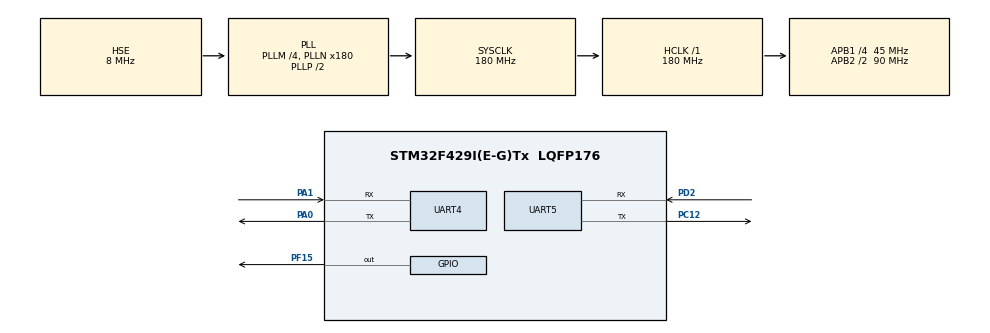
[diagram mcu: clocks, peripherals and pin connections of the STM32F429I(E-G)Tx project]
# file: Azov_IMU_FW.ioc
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FREERTOS.INCLUDE_vTaskDelayUntil=1
FREERTOS.INCLUDE_xEventGroupSetBitFromISR=1
FREERTOS.INCLUDE_xTimerPendFunctionCall=1
FREERTOS.Tasks01=mainTask,0,128,StartMainTask,Default,NULL,Dynamic,NULL,NULL;TxPCTask,0,512,StartTxPCTask,Default,NULL,Dynamic,NULL,NULL;RxPCTask,0,512,StartRxPCTask,Default,NULL,Dynamic,NULL,NULL;StormTxTask,0,512,StartStormTxTask,Default,NULL,Dynamic,NULL,NULL;StormRxTask,0,512,StartStormRxTask,Default,NULL,Dynamic,NULL,NULL
FREERTOS.configCHECK_FOR_STACK_OVERFLOW=2
FREERTOS.configTOTAL_HEAP_SIZE=32768
FREERTOS.configUSE_IDLE_HOOK=1
FREERTOS.configUSE_MALLOC_FAILED_HOOK=1
FREERTOS.configUSE_TIMERS=1
Mcu.Family=STM32F4
Mcu.Name=STM32F429I(E-G)Tx
Mcu.Package=LQFP176
NVIC.PriorityGroup=NVIC_PRIORITYGROUP_4
NVIC.TIM1_UP_TIM10_IRQn=true\:5\:0\:false\:false\:true\:true\:true
NVIC.TIM8_TRG_COM_TIM14_IRQn=true\:0\:0\:false\:false\:true\:false\:false
NVIC.TimeBase=TIM8_TRG_COM_TIM14_IRQn
NVIC.TimeBaseIP=TIM14
NVIC.UART4_IRQn=true\:5\:0\:false\:false\:true\:true\:true
NVIC.UART5_IRQn=true\:5\:0\:false\:false\:true\:true\:true
PA0/WKUP.Mode=Asynchronous
PA0/WKUP.Signal=UART4_TX
PA1.Mode=Asynchronous
PA1.Signal=UART4_RX
PC12.Mode=Asynchronous
PC12.Signal=UART5_TX
PD2.Mode=Asynchronous
PD2.Signal=UART5_RX
PF15.Signal=GPIO_Output
PH0/OSC_IN.Mode=HSE-External-Oscillator
PH0/OSC_IN.Signal=RCC_OSC_IN
PH1/OSC_OUT.Mode=HSE-External-Oscillator
PH1/OSC_OUT.Signal=RCC_OSC_OUT
ProjectManager.HeapSize=0x200
ProjectManager.StackSize=0x400
ProjectManager.TargetToolchain=EWARM V7
RCC.48MHZClocksFreq_Value=90000000
RCC.AHBFreq_Value=180000000
RCC.APB1CLKDivider=RCC_HCLK_DIV4
RCC.APB1Freq_Value=45000000
RCC.APB1TimFreq_Value=90000000
RCC.APB2CLKDivider=RCC_HCLK_DIV2
RCC.APB2Freq_Value=90000000
RCC.APB2TimFreq_Value=180000000
RCC.CortexFreq_Value=180000000
RCC.HCLKFreq_Value=180000000
RCC.HSE_VALUE=8000000
RCC.HSI_VALUE=16000000
RCC.LSE_VALUE=32768
RCC.PLLM=4
RCC.PLLN=180
RCC.PLLSourceVirtual=RCC_PLLSOURCE_HSE
RCC.SYSCLKFreq_VALUE=180000000
RCC.SYSCLKSource=RCC_SYSCLKSOURCE_PLLCLK
RCC.VCOOutputFreq_Value=360000000
UART4.VirtualMode=Asynchronous
UART5.VirtualMode=Asynchronous
VP_FREERTOS_VS_ENABLE.Mode=Enabled
VP_SYS_VS_tim14.Mode=TIM14
VP_TIM10_VS_ClockSourceINT.Mode=Enable_Timer
board=custom

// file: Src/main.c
/* USER CODE BEGIN Header */
/**
  ******************************************************************************
  * @file           : main.c
  * @brief          : Main program body
  ******************************************************************************
  * This notice applies to any and all portions of this file
  * that are not between comment pairs USER CODE BEGIN and
  * USER CODE END. Other portions of this file, whether
  * inserted by the user or by software development tools
  * are owned by their respective copyright owners.
  *
  * Copyright (c) 2019 STMicroelectronics International N.V.
  * All rights reserved.
  *
  * Redistribution and use in source and binary forms, with or without
  * modification, are permitted, provided that the following conditions are met:
  *
  * 1. Redistribution of source code must retain the above copyright notice,
  *    this list of conditions and the following disclaimer.
  * 2. Redistributions in binary form must reproduce the above copyright notice,
  *    this list of conditions and the following disclaimer in the documentation
  *    and/or other materials provided with the distribution.
  * 3. Neither the name of STMicroelectronics nor the names of other
  *    contributors to this software may be used to endorse or promote products
  *    derived from this software without specific written permission.
  * 4. This software, including modifications and/or derivative works of this
  *    software, must execute solely and exclusively on microcontroller or
  *    microprocessor devices manufactured by or for STMicroelectronics.
  * 5. Redistribution and use of this software other than as permitted under
  *    this license is void and will automatically terminate your rights under
  *    this license.
  *
  * THIS SOFTWARE IS PROVIDED BY STMICROELECTRONICS AND CONTRIBUTORS "AS IS"
  * AND ANY EXPRESS, IMPLIED OR STATUTORY WARRANTIES, INCLUDING, BUT NOT
  * LIMITED TO, THE IMPLIED WARRANTIES OF MERCHANTABILITY, FITNESS FOR A
  * PARTICULAR PURPOSE AND NON-INFRINGEMENT OF THIRD PARTY INTELLECTUAL PROPERTY
  * RIGHTS ARE DISCLAIMED TO THE FULLEST EXTENT PERMITTED BY LAW. IN NO EVENT
  * SHALL STMICROELECTRONICS OR CONTRIBUTORS BE LIABLE FOR ANY DIRECT, INDIRECT,
  * INCIDENTAL, SPECIAL, EXEMPLARY, OR CONSEQUENTIAL DAMAGES (INCLUDING, BUT NOT
  * LIMITED TO, PROCUREMENT OF SUBSTITUTE GOODS OR SERVICES; LOSS OF USE, DATA,
  * OR PROFITS; OR BUSINESS INTERRUPTION) HOWEVER CAUSED AND ON ANY THEORY OF
  * LIABILITY, WHETHER IN CONTRACT, STRICT LIABILITY, OR TORT (INCLUDING
  * NEGLIGENCE OR OTHERWISE) ARISING IN ANY WAY OUT OF THE USE OF THIS SOFTWARE,
  * EVEN IF ADVISED OF THE POSSIBILITY OF SUCH DAMAGE.
  *
  ******************************************************************************
  */
/* USER CODE END Header */

#include "main.h"
#include "cmsis_os.h"
#include "checksum.h"

/* USER CODE BEGIN Includes */
#define HMI_BUF_SIZE    256

#define PC_DATA_RX_FLAG         0x0001
#define PC_DATA_TX_FLAG         0x0002

#define STORM_DATA_RX_FLAG         0x0001
#define STORM_DATA_TX_FLAG         0x0002
/* USER CODE END Includes */

/* USER CODE BEGIN PTD */
typedef struct {
  uint16_t commLength;
  uint16_t commIndex;
  uint16_t IndexIn;
  uint16_t IndexOut;
  uint8_t  buf[HMI_BUF_SIZE];
  uint8_t flag;
}pcMsg_TypeDef_t;

typedef struct {
  uint8_t len;
  uint8_t buf[50];
}pc_data_t;
/* USER CODE END PTD */

TIM_HandleTypeDef htim10;

UART_HandleTypeDef huart4;
UART_HandleTypeDef huart5;

osThreadId mainTaskHandle;
osThreadId TxPCTaskHandle;
osThreadId RxPCTaskHandle;
osThreadId StormTxTaskHandle;
osThreadId StormRxTaskHandle;
/* USER CODE BEGIN PV */
static pcMsg_TypeDef_t pcMSG;
static pcMsg_TypeDef_t stormMSG;
EventGroupHandle_t xCreatedEventPC;
EventGroupHandle_t xCreatedEventStorm;

osMessageQId xQueuePC;
osMessageQId xQueueStorm;

uint8_t CMD_SETANGLE_UART[19] = {0xFA, 0x0E, 0x11,
                            0x00, 0x00, 0x00, 0x00,
                            0x00, 0x00, 0x00, 0x00,
                            0x00, 0x00, 0x00, 0x00,
                            0x00,                       //The flags byte allows to modify the behavior of the angle setting for each axis
                            0x00,                       //The type byte is not used currently and has to be set to zero
                            0x00, 0x00};                //crc_low_byte, crc_high_byte
/* USER CODE END PV */

void SystemClock_Config(void);
static void MX_GPIO_Init(void);
static void MX_UART4_Init(void);
static void MX_UART5_Init(void);
static void MX_TIM10_Init(void);
void StartMainTask(void const * argument);
void StartTxPCTask(void const * argument);
void StartRxPCTask(void const * argument);
void StartStormTxTask(void const * argument);
void StartStormRxTask(void const * argument);

/* USER CODE BEGIN 0 */
void ReceivePCData(void);
void TransmitPCEnd(void);
void Install_required_angle(float roll, float pitch, float yaw);
void TransmitStormEnd(void);
void ReceiveStormData(void);
/* USER CODE END 0 */

int main(void)
{

  /* MCU Configuration--------------------------------------------------------*/

  /* Reset of all peripherals, Initializes the Flash interface and the Systick. */
  HAL_Init();

  /* Configure the system clock */
  SystemClock_Config();

  /* Initialize all configured peripherals */
  MX_GPIO_Init();
  MX_UART4_Init();
  MX_UART5_Init();
  MX_TIM10_Init();

  /* USER CODE BEGIN RTOS_TIMERS */
  /* start timers, add new ones, ... */
  xCreatedEventPC = xEventGroupCreate();
  xCreatedEventStorm = xEventGroupCreate();
  /* USER CODE END RTOS_TIMERS */

  /* Create the thread(s) */
  /* definition and creation of mainTask */
  osThreadDef(mainTask, StartMainTask, osPriorityNormal, 0, 128);
  mainTaskHandle = osThreadCreate(osThread(mainTask), NULL);

  /* definition and creation of TxPCTask */
  osThreadDef(TxPCTask, StartTxPCTask, osPriorityNormal, 0, 2048);
  TxPCTaskHandle = osThreadCreate(osThread(TxPCTask), NULL);

  /* definition and creation of RxPCTask */
  osThreadDef(RxPCTask, StartRxPCTask, osPriorityNormal, 0, 2048);
  RxPCTaskHandle = osThreadCreate(osThread(RxPCTask), NULL);

  /* definition and creation of StormTxTask */
  osThreadDef(StormTxTask, StartStormTxTask, osPriorityNormal, 0, 2048);
  StormTxTaskHandle = osThreadCreate(osThread(StormTxTask), NULL);

  /* definition and creation of StormRxTask */
  osThreadDef(StormRxTask, StartStormRxTask, osPriorityNormal, 0, 2048);
  StormRxTaskHandle = osThreadCreate(osThread(StormRxTask), NULL);

  /* USER CODE BEGIN RTOS_QUEUES */
  /* add queues, ... */
  osMessageQDef(queuePC, 30, pc_data_t); // Declare a message queue
  xQueuePC = osMessageCreate(osMessageQ(queuePC), NULL);
  osMessageQDef(queueStorm, 30, pc_data_t); // Declare a message queue
  xQueueStorm = osMessageCreate(osMessageQ(queueStorm), NULL);
  /* USER CODE END RTOS_QUEUES */

  /* Start scheduler */
  osKernelStart();

  /* We should never get here as control is now taken by the scheduler */

  /* Infinite loop */
  while (1)
  {

  }
}

void SystemClock_Config(void)
{
  RCC_OscInitTypeDef RCC_OscInitStruct = {0};
  RCC_ClkInitTypeDef RCC_ClkInitStruct = {0};

  /**Configure the main internal regulator output voltage
  */
  __HAL_RCC_PWR_CLK_ENABLE();
  __HAL_PWR_VOLTAGESCALING_CONFIG(PWR_REGULATOR_VOLTAGE_SCALE1);
  /**Initializes the CPU, AHB and APB busses clocks
  */
  RCC_OscInitStruct.OscillatorType = RCC_OSCILLATORTYPE_HSE;
  RCC_OscInitStruct.HSEState = RCC_HSE_ON;
  RCC_OscInitStruct.PLL.PLLState = RCC_PLL_ON;
  RCC_OscInitStruct.PLL.PLLSource = RCC_PLLSOURCE_HSE;
  RCC_OscInitStruct.PLL.PLLM = 4;
  RCC_OscInitStruct.PLL.PLLN = 180;
  RCC_OscInitStruct.PLL.PLLP = RCC_PLLP_DIV2;
  RCC_OscInitStruct.PLL.PLLQ = 4;
  if (HAL_RCC_OscConfig(&RCC_OscInitStruct) != HAL_OK)
  {
    Error_Handler();
  }
  /**Activate the Over-Drive mode
  */
  if (HAL_PWREx_EnableOverDrive() != HAL_OK)
  {
    Error_Handler();
  }
  /**Initializes the CPU, AHB and APB busses clocks
  */
  RCC_ClkInitStruct.ClockType = RCC_CLOCKTYPE_HCLK|RCC_CLOCKTYPE_SYSCLK
                              |RCC_CLOCKTYPE_PCLK1|RCC_CLOCKTYPE_PCLK2;
  RCC_ClkInitStruct.SYSCLKSource = RCC_SYSCLKSOURCE_PLLCLK;
  RCC_ClkInitStruct.AHBCLKDivider = RCC_SYSCLK_DIV1;
  RCC_ClkInitStruct.APB1CLKDivider = RCC_HCLK_DIV4;
  RCC_ClkInitStruct.APB2CLKDivider = RCC_HCLK_DIV2;

  if (HAL_RCC_ClockConfig(&RCC_ClkInitStruct, FLASH_LATENCY_5) != HAL_OK)
  {
    Error_Handler();
  }
}

static void MX_TIM10_Init(void)
{

  htim10.Instance = TIM10;
  htim10.Init.Prescaler = 0;
  htim10.Init.CounterMode = TIM_COUNTERMODE_UP;
  htim10.Init.Period = 0;
  htim10.Init.ClockDivision = TIM_CLOCKDIVISION_DIV1;
  if (HAL_TIM_Base_Init(&htim10) != HAL_OK)
  {
    Error_Handler();
  }

}

static void MX_UART4_Init(void)
{

  huart4.Instance = UART4;
  huart4.Init.BaudRate = 115200;
  huart4.Init.WordLength = UART_WORDLENGTH_8B;
  huart4.Init.StopBits = UART_STOPBITS_1;
  huart4.Init.Parity = UART_PARITY_NONE;
  huart4.Init.Mode = UART_MODE_TX_RX;
  huart4.Init.HwFlowCtl = UART_HWCONTROL_NONE;
  huart4.Init.OverSampling = UART_OVERSAMPLING_16;
  if (HAL_UART_Init(&huart4) != HAL_OK)
  {
    Error_Handler();
  }

}

static void MX_UART5_Init(void)
{

  huart5.Instance = UART5;
  huart5.Init.BaudRate = 115200;
  huart5.Init.WordLength = UART_WORDLENGTH_8B;
  huart5.Init.StopBits = UART_STOPBITS_1;
  huart5.Init.Parity = UART_PARITY_NONE;
  huart5.Init.Mode = UART_MODE_TX_RX;
  huart5.Init.HwFlowCtl = UART_HWCONTROL_NONE;
  huart5.Init.OverSampling = UART_OVERSAMPLING_16;
  if (HAL_UART_Init(&huart5) != HAL_OK)
  {
    Error_Handler();
  }

}

static void MX_GPIO_Init(void)
{
  GPIO_InitTypeDef GPIO_InitStruct = {0};

  /* GPIO Ports Clock Enable */
  __HAL_RCC_GPIOH_CLK_ENABLE();
  __HAL_RCC_GPIOA_CLK_ENABLE();
  __HAL_RCC_GPIOF_CLK_ENABLE();
  __HAL_RCC_GPIOC_CLK_ENABLE();
  __HAL_RCC_GPIOD_CLK_ENABLE();

  /*Configure GPIO pin Output Level */
  HAL_GPIO_WritePin(GPIOF, GPIO_PIN_15, GPIO_PIN_RESET);

  /*Configure GPIO pin : PF15 */
  GPIO_InitStruct.Pin = GPIO_PIN_15;
  GPIO_InitStruct.Mode = GPIO_MODE_OUTPUT_PP;
  GPIO_InitStruct.Pull = GPIO_NOPULL;
  GPIO_InitStruct.Speed = GPIO_SPEED_FREQ_LOW;
  HAL_GPIO_Init(GPIOF, &GPIO_InitStruct);

}

/* USER CODE BEGIN 4 */
void ReceivePCData(void)
{
  BaseType_t xHigherPriorityTaskWoken;

  if(pcMSG.buf[pcMSG.IndexOut] == '<')
  {
    pcMSG.flag |= 0x01;
    pcMSG.IndexIn = pcMSG.IndexOut;
  }
  else if((pcMSG.flag & 0x01) && pcMSG.buf[pcMSG.IndexOut] == '>')
  {
    pcMSG.flag = 0x00;
    pcMSG.commIndex = pcMSG.IndexIn;
    if(pcMSG.IndexIn <= pcMSG.IndexOut)
    {
      pcMSG.commLength = pcMSG.IndexOut - pcMSG.IndexIn;
    }
    else
    {
      pcMSG.commLength = (HMI_BUF_SIZE - pcMSG.IndexIn) + pcMSG.IndexOut;
    }
    xEventGroupSetBitsFromISR(xCreatedEventPC, PC_DATA_RX_FLAG, &xHigherPriorityTaskWoken);
  }

  if((++pcMSG.IndexOut) >= HMI_BUF_SIZE)
  {
    pcMSG.IndexOut = 0;
  }
  HAL_UART_Receive_IT(&huart5, &pcMSG.buf[pcMSG.IndexOut], 1);
}

/*Storm*/
void ReceiveStormData(void)
{
  BaseType_t xHigherPriorityTaskWoken;

  if(stormMSG.buf[stormMSG.IndexOut] == 0x06)
  {
    stormMSG.flag |= 0x01;
    stormMSG.IndexIn = stormMSG.IndexOut;
  }
  else if((stormMSG.flag & 0x01) && stormMSG.buf[stormMSG.IndexOut] == 'o')
  {
    stormMSG.flag = 0x00;
    stormMSG.commIndex = stormMSG.IndexIn;
    if(stormMSG.IndexIn <= stormMSG.IndexOut)
    {
      stormMSG.commLength = stormMSG.IndexOut - stormMSG.IndexIn;
    }
    else
    {
      stormMSG.commLength = (HMI_BUF_SIZE - stormMSG.IndexIn) + stormMSG.IndexOut;
    }
    xEventGroupSetBitsFromISR(xCreatedEventStorm, STORM_DATA_RX_FLAG, &xHigherPriorityTaskWoken);
    stormMSG.IndexOut = 0;
    stormMSG.IndexIn = 0;
    stormMSG.flag = 0;
    HAL_UART_Receive_IT(&huart4, &stormMSG.buf[0], 1);
  }

  if(stormMSG.flag & 0x01)
  {
    if((++stormMSG.IndexOut) >= HMI_BUF_SIZE)
    {
      stormMSG.IndexOut = 0;
      stormMSG.IndexIn = 0;
      stormMSG.flag = 0;
    }
    HAL_UART_Receive_IT(&huart4, &stormMSG.buf[stormMSG.IndexOut], 1);
  }
  else
  {
    HAL_UART_Receive_IT(&huart4, &stormMSG.buf[0], 1);
  }
}

void HAL_UART_RxCpltCallback(UART_HandleTypeDef *huart)
{
  if(huart->Instance == UART5)
  {
    ReceivePCData();
  }
  else if(huart->Instance == UART4)
  {
    ReceiveStormData();
  }
}

void HAL_UART_TxCpltCallback(UART_HandleTypeDef *huart)
{
  if(huart->Instance == UART5)
  {
    TransmitPCEnd();
  }
  else if(huart->Instance == UART4)
  {
    TransmitStormEnd();
  }
}
/* USER CODE END 4 */

void StartMainTask(void const * argument)
{

  pc_data_t message;
  /* USER CODE BEGIN 5 */
  /* Infinite loop */
  for(;;)
  {
    message.len = 1;
    message.buf[0] = 'd';
    xQueueSend(xQueueStorm, &message, portMAX_DELAY);
    osDelay(10);
  }
  /* USER CODE END 5 */
}

void StartTxPCTask(void const * argument)
{
  /* USER CODE BEGIN StartTxPCTask */
  pc_data_t message;
  /* Infinite loop */
  for(;;)
  {
    xQueueReceive(xQueuePC,  &message, portMAX_DELAY);
    HAL_UART_Transmit_IT(&huart5, message.buf, message.len);
    xEventGroupWaitBits(xCreatedEventPC, PC_DATA_TX_FLAG, pdTRUE, pdFALSE, portMAX_DELAY);
  }
  /* USER CODE END StartTxPCTask */
}

void StartRxPCTask(void const * argument)
{
  uint8_t i;
  EventBits_t event;
  uint8_t local_buf[40];
  float roll, pitch, yaw;

  HAL_UART_Receive_IT(&huart5, &pcMSG.buf[0], 1);
  /* USER CODE BEGIN StartRxPCTask */
  /* Infinite loop */
  for(;;)
  {
    event = xEventGroupWaitBits(xCreatedEventPC, PC_DATA_RX_FLAG, pdTRUE, pdFALSE, portMAX_DELAY);
    if(event & PC_DATA_RX_FLAG)
    {
      for(i = 0; i < pcMSG.commLength; i++)
      {
        local_buf[i] = pcMSG.buf[pcMSG.IndexIn];
        if((++pcMSG.IndexIn) >= HMI_BUF_SIZE)
        {
          pcMSG.IndexIn = 0;
        }
      }
      local_buf[i] = '\0';

      if(strstr((char*)local_buf, "<SetAngle:") != NULL)
      {
        sscanf((char*)&local_buf, "<SetAngle:%f:%f:%f>", &roll, &pitch, &yaw);
        Install_required_angle(roll, pitch, yaw);
      }

    }
  }
  /* USER CODE END StartRxPCTask */
}

void TransmitPCEnd(void)
{
  BaseType_t xHigherPriorityTaskWoken;
  xEventGroupSetBitsFromISR(xCreatedEventPC, PC_DATA_TX_FLAG, &xHigherPriorityTaskWoken);
}

void TransmitStormEnd(void)
{
  BaseType_t xHigherPriorityTaskWoken;
  xEventGroupSetBitsFromISR(xCreatedEventStorm, STORM_DATA_TX_FLAG, &xHigherPriorityTaskWoken);
}

union {
  float Angle_from_Simulink;
  uint8_t Angle_from_PC[4];
} Roll_from_PC, Pitch_from_PC;

void Install_required_angle(float roll, float pitch, float yaw)
{
  pc_data_t message;
  uint16_t CRC_Full_Result;

  Roll_from_PC.Angle_from_Simulink = roll;
  Pitch_from_PC.Angle_from_Simulink = pitch;
  //---------------------Переписываем значения углов установки платформы в массивы для расчета CRC и для отправки по UART
  //-------------- Значение крена-------------------------------------------
  uint8_t local_index = 3;
  for (uint8_t k=0; k<4; k++){
    CMD_SETANGLE_UART[local_index] = Roll_from_PC.Angle_from_PC[k];
    local_index++;
  }

  //------------- Значение тангажа------------------------------------------
  local_index = 7;
  for (uint8_t k=0; k<4; k++){
    CMD_SETANGLE_UART[local_index] = Pitch_from_PC.Angle_from_PC[k];
    local_index++;
  }
  //------------------------------------------------------------------------

  CRC_Full_Result = crc_calculate(&CMD_SETANGLE_UART[1], 16);       //вычисление контрольной суммы тестового массива требуемых углов

  CMD_SETANGLE_UART[17] = CRC_Full_Result & 0xFF;               //младшая часть контрольной суммы

  CMD_SETANGLE_UART[18] = (CRC_Full_Result & 0xFF00) >> 8;      //старшая часть контрольной суммы

  message.len = sizeof(CMD_SETANGLE_UART);
  memcpy(message.buf, CMD_SETANGLE_UART, message.len);
  xQueueSend(xQueueStorm, &message, portMAX_DELAY);
}

void StartStormTxTask(void const * argument)
{
  /* USER CODE BEGIN StartStormTxTask */
  pc_data_t message;
  /* Infinite loop */
  for(;;)
  {
    xQueueReceive(xQueueStorm,  &message, portMAX_DELAY);
    HAL_UART_Transmit_IT(&huart4, message.buf, message.len);
    xEventGroupWaitBits(xCreatedEventStorm, STORM_DATA_TX_FLAG, pdTRUE, pdFALSE, portMAX_DELAY);
  }
  /* USER CODE END StartStormTxTask */
}

void StartStormRxTask(void const * argument)
{
  /* USER CODE BEGIN StartStormRxTask */
  uint8_t i;
  pc_data_t message;
  EventBits_t event;
  uint8_t local_buf[40];
  int16_t Roll, Pitch, Yaw;

  HAL_UART_Receive_IT(&huart4, &stormMSG.buf[0], 1);
  /* Infinite loop */
  for(;;)
  {
    event = xEventGroupWaitBits(xCreatedEventStorm, STORM_DATA_RX_FLAG, pdTRUE, pdFALSE, portMAX_DELAY);
    if(event & STORM_DATA_RX_FLAG)
    {
      for(i = 0; i < stormMSG.commLength; i++)
      {
        local_buf[i] = stormMSG.buf[stormMSG.IndexIn];
        if((++stormMSG.IndexIn) >= HMI_BUF_SIZE)
        {
          stormMSG.IndexIn = 0;
        }
      }
      local_buf[i] = '\0';

      if(local_buf[0] == 0x06)
      {
        Roll = (((int16_t)local_buf[33] << 8) | (local_buf[32]));
        Pitch = (((int16_t)local_buf[35] << 8) | (local_buf[34]));
        Yaw = (((int16_t)local_buf[37] << 8) | (local_buf[36]));

        message.len = sprintf (message.buf, "<%d:%d>\n", Roll, Pitch);
        xQueueSend(xQueuePC, &message, portMAX_DELAY);
      }

    }
  }
  /* USER CODE END StartStormRxTask */
}

void HAL_TIM_PeriodElapsedCallback(TIM_HandleTypeDef *htim)
{
  if (htim->Instance == TIM14) {
    HAL_IncTick();
  }
}

void Error_Handler(void)
{
}

/************************ (C) COPYRIGHT STMicroelectronics *****END OF FILE****/

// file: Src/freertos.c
/* USER CODE BEGIN Header */
/**
  ******************************************************************************
  * File Name          : freertos.c
  * Description        : Code for freertos applications
  ******************************************************************************
  * This notice applies to any and all portions of this file
  * that are not between comment pairs USER CODE BEGIN and
  * USER CODE END. Other portions of this file, whether
  * inserted by the user or by software development tools
  * are owned by their respective copyright owners.
  *
  * Copyright (c) 2019 STMicroelectronics International N.V.
  * All rights reserved.
  *
  * Redistribution and use in source and binary forms, with or without
  * modification, are permitted, provided that the following conditions are met:
  *
  * 1. Redistribution of source code must retain the above copyright notice,
  *    this list of conditions and the following disclaimer.
  * 2. Redistributions in binary form must reproduce the above copyright notice,
  *    this list of conditions and the following disclaimer in the documentation
  *    and/or other materials provided with the distribution.
  * 3. Neither the name of STMicroelectronics nor the names of other
  *    contributors to this software may be used to endorse or promote products
  *    derived from this software without specific written permission.
  * 4. This software, including modifications and/or derivative works of this
  *    software, must execute solely and exclusively on microcontroller or
  *    microprocessor devices manufactured by or for STMicroelectronics.
  * 5. Redistribution and use of this software other than as permitted under
  *    this license is void and will automatically terminate your rights under
  *    this license.
  *
  * THIS SOFTWARE IS PROVIDED BY STMICROELECTRONICS AND CONTRIBUTORS "AS IS"
  * AND ANY EXPRESS, IMPLIED OR STATUTORY WARRANTIES, INCLUDING, BUT NOT
  * LIMITED TO, THE IMPLIED WARRANTIES OF MERCHANTABILITY, FITNESS FOR A
  * PARTICULAR PURPOSE AND NON-INFRINGEMENT OF THIRD PARTY INTELLECTUAL PROPERTY
  * RIGHTS ARE DISCLAIMED TO THE FULLEST EXTENT PERMITTED BY LAW. IN NO EVENT
  * SHALL STMICROELECTRONICS OR CONTRIBUTORS BE LIABLE FOR ANY DIRECT, INDIRECT,
  * INCIDENTAL, SPECIAL, EXEMPLARY, OR CONSEQUENTIAL DAMAGES (INCLUDING, BUT NOT
  * LIMITED TO, PROCUREMENT OF SUBSTITUTE GOODS OR SERVICES; LOSS OF USE, DATA,
  * OR PROFITS; OR BUSINESS INTERRUPTION) HOWEVER CAUSED AND ON ANY THEORY OF
  * LIABILITY, WHETHER IN CONTRACT, STRICT LIABILITY, OR TORT (INCLUDING
  * NEGLIGENCE OR OTHERWISE) ARISING IN ANY WAY OUT OF THE USE OF THIS SOFTWARE,
  * EVEN IF ADVISED OF THE POSSIBILITY OF SUCH DAMAGE.
  *
  ******************************************************************************
  */
/* USER CODE END Header */

#include "FreeRTOS.h"
#include "task.h"
#include "main.h"

/* Hook prototypes */
void vApplicationIdleHook(void);
void vApplicationStackOverflowHook(xTaskHandle xTask, signed char *pcTaskName);
void vApplicationMallocFailedHook(void);

/* USER CODE BEGIN 2 */
__weak void vApplicationIdleHook( void )
{
   /* vApplicationIdleHook() will only be called if configUSE_IDLE_HOOK is set
   to 1 in FreeRTOSConfig.h. It will be called on each iteration of the idle
   task. It is essential that code added to this hook function never attempts
   to block in any way (for example, call xQueueReceive() with a block time
   specified, or call vTaskDelay()). If the application makes use of the
   vTaskDelete() API function (as this demo application does) then it is also
   important that vApplicationIdleHook() is permitted to return to its calling
   function, because it is the responsibility of the idle task to clean up
   memory allocated by the kernel to any task that has since been deleted. */
}
/* USER CODE END 2 */

/* USER CODE BEGIN 4 */
__weak void vApplicationStackOverflowHook(xTaskHandle xTask, signed char *pcTaskName)
{
  NVIC_SystemReset();
  while(1);
   /* Run time stack overflow checking is performed if
   configCHECK_FOR_STACK_OVERFLOW is defined to 1 or 2. This hook function is
   called if a stack overflow is detected. */
}
/* USER CODE END 4 */

/* USER CODE BEGIN 5 */
__weak void vApplicationMallocFailedHook(void)
{
   /* vApplicationMallocFailedHook() will only be called if
   configUSE_MALLOC_FAILED_HOOK is set to 1 in FreeRTOSConfig.h. It is a hook
   function that will get called if a call to pvPortMalloc() fails.
   pvPortMalloc() is called internally by the kernel whenever a task, queue,
   timer or semaphore is created. It is also called by various parts of the
   demo application. If heap_1.c or heap_2.c are used, then the size of the
   heap available to pvPortMalloc() is defined by configTOTAL_HEAP_SIZE in
   FreeRTOSConfig.h, and the xPortGetFreeHeapSize() API function can be used
   to query the size of free heap space that remains (although it does not
   provide information on how the remaining heap might be fragmented). */
}
/* USER CODE END 5 */

/************************ (C) COPYRIGHT STMicroelectronics *****END OF FILE****/
